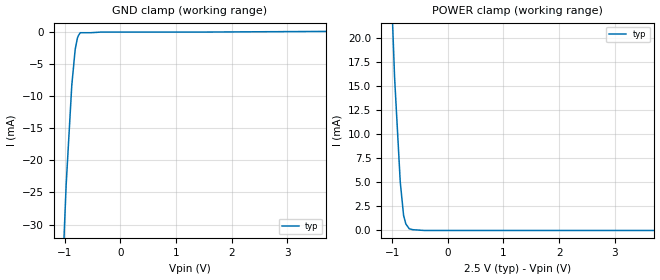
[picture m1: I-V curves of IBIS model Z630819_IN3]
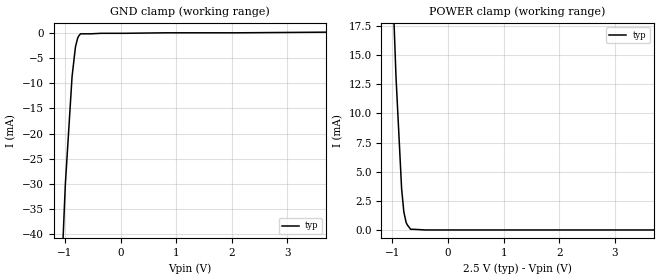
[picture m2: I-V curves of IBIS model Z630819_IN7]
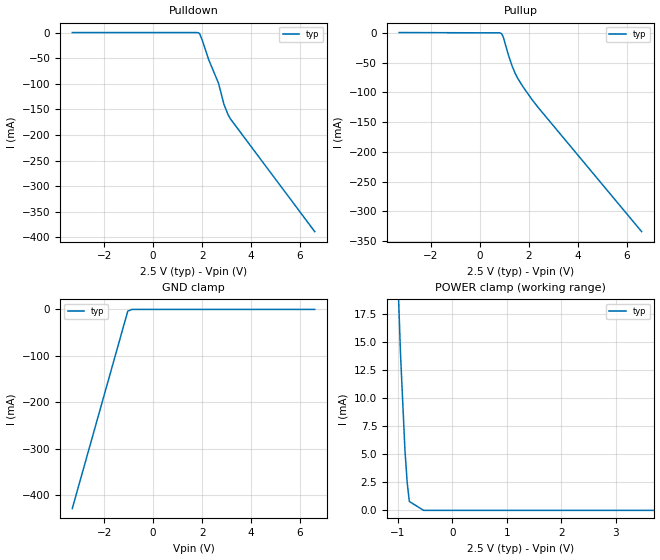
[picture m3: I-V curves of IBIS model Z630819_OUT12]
| YOU ARE ONLY AUTHORIZED TO USE THIS SOFTWARE
| ACCORDING TO LICENSOR'S LICENSE RESTRICTIONS.
[IBIS Ver] 3.1
[File Name] mc100lvep111fa_25.ibs
[File Rev] 2
[Source] Derived from mc100lvep210fa_33.ibs
|   Measured and created by ICX Technology
[Date] 12/1/2003
[Copyright]
| (C) COPYRIGHT 1993-2000
| MENTOR GRAPHICS CORPORATION
| ICX STANDARD LIBRARY, ICX PROJECT MODELING,
| ICX CUSTOM MODELING, ICX VENDOR MODEL
| ALL RIGHTS RESERVED.
| THE FOLLOWING ARE TRADEMARKS OR SERVICE MARKS OF
| MENTOR GRAPHICS CORPORATION:ICX (R), ICX STANDARD
| LIBRARY(R), ICX PROJECT MODELING(R), ICX CUSTOM
| MODELING(R), qualityIBIS(TM), MODELVIEWER(TM),
| AND MODELEDITOR(TM)
| ALL COPIES OF SOFTWARE, INCLUDING BUT NOT LIMITED TO
| ANY MODIFICATIONS, ENHANCEMENTS OR DERIVATIVE WORKS,
| MUST CONTAIN ALL MENTOR GRAPHICS CORPORATION'S
| NOTICES AND LEGENDS, INCLUDING THOSE EMBEDDED IN
| SOFTWARE AND THOSE AFFIXED TO SOFTWARE MEDIUM
| AND CONTAINER, AS RECEIVED FROM MENTOR GRAPHICS
| CORPORATION.
|  ZAP Model Builder 2.8
[Component] MC100LVEP111FA_25
[Manufacturer] ON
[Package]
| variable   typ   min   max
R_pkg  .067ohms NA NA
L_pkg  4.211nH NA NA
C_pkg  1.002pF NA NA
[Pin] signal_name  model_name  R_pin  L_pin C_pin
1 VCC POWER .065 3.973n .928p
2 CLK_SEL Z630819_IN3 .068 4.288n 1.027p
3 CLK0 Z630819_IN3 .068 4.288n 1.027p
4 _CLK0 Z630819_IN7 .069 4.455n 1.077p
5 VBB POWER .069 4.455n 1.077p
6 CLK1 Z630819_IN3 .068 4.288n 1.027p
7 _CLK1 Z630819_IN7 .066 4.127n .978p
8 VEE POWER .065 3.973n .928p
9 VCC POWER .065 3.973n .928p
10 _QB9 Z630819_OUT12 .066 4.127n .978p
11 QB9 Z630819_OUT13 .068 4.288n 1.027p
12 _QB8 Z630819_OUT12 .069 4.455n 1.077p
13 QB8 Z630819_OUT13 .069 4.455n 1.077p
14 _QB7 Z630819_OUT12 .068 4.288n 1.027p
15 QB7 Z630819_OUT13 .066 4.127n .978p
16 VCC POWER .065 3.973n .928p
17 _QB6 Z630819_OUT12 .065 3.973n .928p
18 QB6 Z630819_OUT13 .066 4.127n .978p
19 _QB5 Z630819_OUT12 .068 4.288n 1.027p
20 QB5 Z630819_OUT13 .069 4.455n 1.077p
21 _QA4 Z630819_OUT28 .069 4.455n 1.077p
22 QA4 Z630819_OUT29 .068 4.288n 1.027p
23 _QA3 Z630819_OUT28 .066 4.127n .978p
24 QA3 Z630819_OUT29 .065 3.973n .928p
25 VCC POWER .065 3.973n .928p
26 _QA2 Z630819_OUT28 .066 4.127n .978p
27 QA2 Z630819_OUT29 .068 4.288n 1.027p
28 _QA1 Z630819_OUT28 .069 4.455n 1.077p
29 QA1 Z630819_OUT29 .069 4.455n 1.077p
30 _QA0 Z630819_OUT28 .068 4.288n 1.027p
31 QA0 Z630819_OUT29 .066 4.127n .978p
32 VCC POWER .065 3.973n .928p
[Diff Pin] inv_pin vdiff tdelay_typ tdelay_min tdelay_max
3 4 150mv NA NA NA
6 7 150mv NA NA NA
11 10 NA .025ns NA .035ns
13 12 NA .025ns NA .035ns
15 14 NA .025ns NA .035ns
18 17 NA .025ns NA .035ns
20 19 NA .025ns NA .035ns
22 21 NA .025ns NA .035ns
24 23 NA .025ns NA .035ns
27 26 NA .025ns NA .035ns
29 28 NA .025ns NA .035ns
31 30 NA .025ns NA .035ns
| Models and submodels in the file (6): Z630819_IN3 (Input_ECL), Z630819_IN7 (Input_ECL), Z630819_OUT12 (Output_ECL), Z630819_OUT13 (Output_ECL), Z630819_OUT28 (Output_ECL), Z630819_OUT29 (Output_ECL)
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| (C) COPYRIGHT 1993-2000
| MENTOR GRAPHICS CORPORATION
| ICX STANDARD LIBRARY, ICX PROJECT MODELING,
| ICX CUSTOM MODELING, ICX VENDOR MODEL
| ALL RIGHTS RESERVED.
| THE FOLLOWING ARE TRADEMARKS OR SERVICE MARKS OF
| MENTOR GRAPHICS CORPORATION:ICX (R), ICX STANDARD
| LIBRARY(R), ICX PROJECT MODELING(R), ICX CUSTOM
| MODELING(R), qualityIBIS(TM), MODELVIEWER(TM),
| AND MODELEDITOR(TM)
| ALL COPIES OF SOFTWARE, INCLUDING BUT NOT LIMITED TO
| ANY MODIFICATIONS, ENHANCEMENTS OR DERIVATIVE WORKS,
| MUST CONTAIN ALL MENTOR GRAPHICS CORPORATION'S
| NOTICES AND LEGENDS, INCLUDING THOSE EMBEDDED IN
| SOFTWARE AND THOSE AFFIXED TO SOFTWARE MEDIUM
| AND CONTAINER, AS RECEIVED FROM MENTOR GRAPHICS
| CORPORATION.
| Model Application Version 1.89 2/18/99.
[Model] Z630819_IN3
Model_type Input_ECL
Vinl = 0.875V
Vinh = 1.335V
C_comp 2.000pF NA NA
| variable typ   min   max
[Voltage Range] 2.500V NA NA
[GND Clamp Reference] 0.000V NA NA
[POWER Clamp Reference] 2.500V NA NA
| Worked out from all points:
|   GND clamp passes 1 mA (typ) near -0.77 V on its own axis
|   POWER clamp passes 1 mA (typ) near -0.77 V on its own axis
[GND Clamp]
-3.3V     -625.8mA   NA         NA
-1.095V   -49.9mA    NA         NA
-973mV    -23.8mA    NA         NA
-872mV    -8.3mA     NA         NA
-811mV    -2.7mA     NA         NA
-770mV    -900uA     NA         NA
-750mV    -500uA     NA         NA
-719.8mV  -100uA     NA         NA
-532.3mV  -100uA     NA         NA
-344.8mV  0A         NA         NA
1.449V    0A         NA         NA
6.6V      243.2uA    NA         NA
[POWER Clamp]
-3.3V     386.1mA    NA         NA
-957mV    15.97mA    NA         NA
-855mV    5.072mA    NA         NA
-795mV    1.575mA    NA         NA
-754mV    677uA      NA         NA
-693mV    179.9uA    NA         NA
-632mV    82.77uA    NA         NA
-421.3mV  0A         NA         NA
6.6V      0A         NA         NA
| (C) COPYRIGHT 1993-2000
| MENTOR GRAPHICS CORPORATION
| ICX STANDARD LIBRARY, ICX PROJECT MODELING,
| ICX CUSTOM MODELING, ICX VENDOR MODEL
| ALL RIGHTS RESERVED.
| THE FOLLOWING ARE TRADEMARKS OR SERVICE MARKS OF
| MENTOR GRAPHICS CORPORATION:ICX (R), ICX STANDARD
| LIBRARY(R), ICX PROJECT MODELING(R), ICX CUSTOM
| MODELING(R), qualityIBIS(TM), MODELVIEWER(TM),
| AND MODELEDITOR(TM)
| ALL COPIES OF SOFTWARE, INCLUDING BUT NOT LIMITED TO
| ANY MODIFICATIONS, ENHANCEMENTS OR DERIVATIVE WORKS,
| MUST CONTAIN ALL MENTOR GRAPHICS CORPORATION'S
| NOTICES AND LEGENDS, INCLUDING THOSE EMBEDDED IN
| SOFTWARE AND THOSE AFFIXED TO SOFTWARE MEDIUM
| AND CONTAINER, AS RECEIVED FROM MENTOR GRAPHICS
| CORPORATION.
| Model Application Version 1.89 2/18/99.
[Model] Z630819_IN7
Model_type Input_ECL
Vinl = 0.875V
Vinh = 1.335V
C_comp 2.000pF NA NA
| variable typ   min   max
[Voltage Range] 2.500V NA NA
[GND Clamp Reference] 0.000V NA NA
[POWER Clamp Reference] 2.500V NA NA
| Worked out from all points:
|   GND clamp passes 1 mA (typ) near -0.77 V on its own axis
|   POWER clamp passes 1 mA (typ) near -0.77 V on its own axis
[GND Clamp]
-3.3V     -767.5mA   NA         NA
-1.115V   -62.2mA    NA         NA
-993mV    -30.1mA    NA         NA
-872mV    -8.7mA     NA         NA
-811mV    -2.8mA     NA         NA
-770mV    -1mA       NA         NA
-719.8mV  -200uA     NA         NA
6.6V      353.3uA    NA         NA
[POWER Clamp]
-3.3V     388mA      NA         NA
-1.038V   26.52mA    NA         NA
-936mV    13.13mA    NA         NA
-835mV    3.54mA     NA         NA
-795mV    1.543mA    NA         NA
-754mV    646uA      NA         NA
-734mV    447.6uA    NA         NA
-673mV    57.17uA    NA         NA
-612mV    57.17uA    NA         NA
-408mV    0A         NA         NA
6.6V      0A         NA         NA
| (C) COPYRIGHT 1993-2000
| MENTOR GRAPHICS CORPORATION
| ICX STANDARD LIBRARY, ICX PROJECT MODELING,
| ICX CUSTOM MODELING, ICX VENDOR MODEL
| ALL RIGHTS RESERVED.
| THE FOLLOWING ARE TRADEMARKS OR SERVICE MARKS OF
| MENTOR GRAPHICS CORPORATION:ICX (R), ICX STANDARD
| LIBRARY(R), ICX PROJECT MODELING(R), ICX CUSTOM
| MODELING(R), qualityIBIS(TM), MODELVIEWER(TM),
| AND MODELEDITOR(TM)
| ALL COPIES OF SOFTWARE, INCLUDING BUT NOT LIMITED TO
| ANY MODIFICATIONS, ENHANCEMENTS OR DERIVATIVE WORKS,
| MUST CONTAIN ALL MENTOR GRAPHICS CORPORATION'S
| NOTICES AND LEGENDS, INCLUDING THOSE EMBEDDED IN
| SOFTWARE AND THOSE AFFIXED TO SOFTWARE MEDIUM
| AND CONTAINER, AS RECEIVED FROM MENTOR GRAPHICS
| CORPORATION.
| Model Application Version 1.89 2/18/99.
[Model] Z630819_OUT12
Model_type Output_ECL
Vref=0.500V
Rref=50.00ohms
Cref=0.000F
Vmeas=1.105V
C_comp 2.000pF NA NA
| variable typ   min   max
[Voltage Range] 2.500V NA NA
[POWER Clamp Reference] 2.500V NA NA
[Pullup Reference] 2.500V NA NA
[Pulldown Reference] 2.500V NA NA
[GND Clamp Reference] 0.000V NA NA
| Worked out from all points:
|   GND clamp passes 1 mA (typ) near -0.91 V on its own axis
|   POWER clamp passes 1 mA (typ) near -0.79 V on its own axis
[GND Clamp]
-3.3V     -429.1mA   NA         NA
-1.034V   -3.713mA   NA         NA
-861.7mV  0A         NA         NA
6.6V      0A         NA         NA
[Pulldown]
-3.3V     0A         NA         NA
1.78V     0A         NA         NA
1.841V    -400uA     NA         NA
1.861V    -800uA     NA         NA
1.901V    -2.6mA     NA         NA
2.003V    -14.2mA    NA         NA
2.266V    -52.5mA    NA         NA
2.672V    -99.2mA    NA         NA
2.895V    -140.5mA   NA         NA
3.057V    -159.9mA   NA         NA
3.158V    -168.7mA   NA         NA
6.6V      -388.8mA   NA         NA
[Pullup]
-3.3V     450.5uA    NA         NA
852mV     -600uA     NA         NA
893mV     -2.1mA     NA         NA
954mV     -7.6mA     NA         NA
1.156V    -36.7mA    NA         NA
1.318V    -56.6mA    NA         NA
1.46V     -70.2mA    NA         NA
1.744V    -90mA      NA         NA
2.109V    -111.4mA   NA         NA
6.6V      -334.3mA   NA         NA
[POWER Clamp]
-3.3V     399.1mA    NA         NA
-1.073V   30.65mA    NA         NA
-952mV    13.87mA    NA         NA
-871mV    5.378mA    NA         NA
-830mV    2.484mA    NA         NA
-790mV    788.9uA    NA         NA
-526.7mV  0A         NA         NA
6.6V      0A         NA         NA
[Ramp]
| variable typ min max
dV/dt_r 479.4m/193.4p NA NA
dV/dt_f 479.4m/159.7p NA NA
R_load = 50.00Ohms
